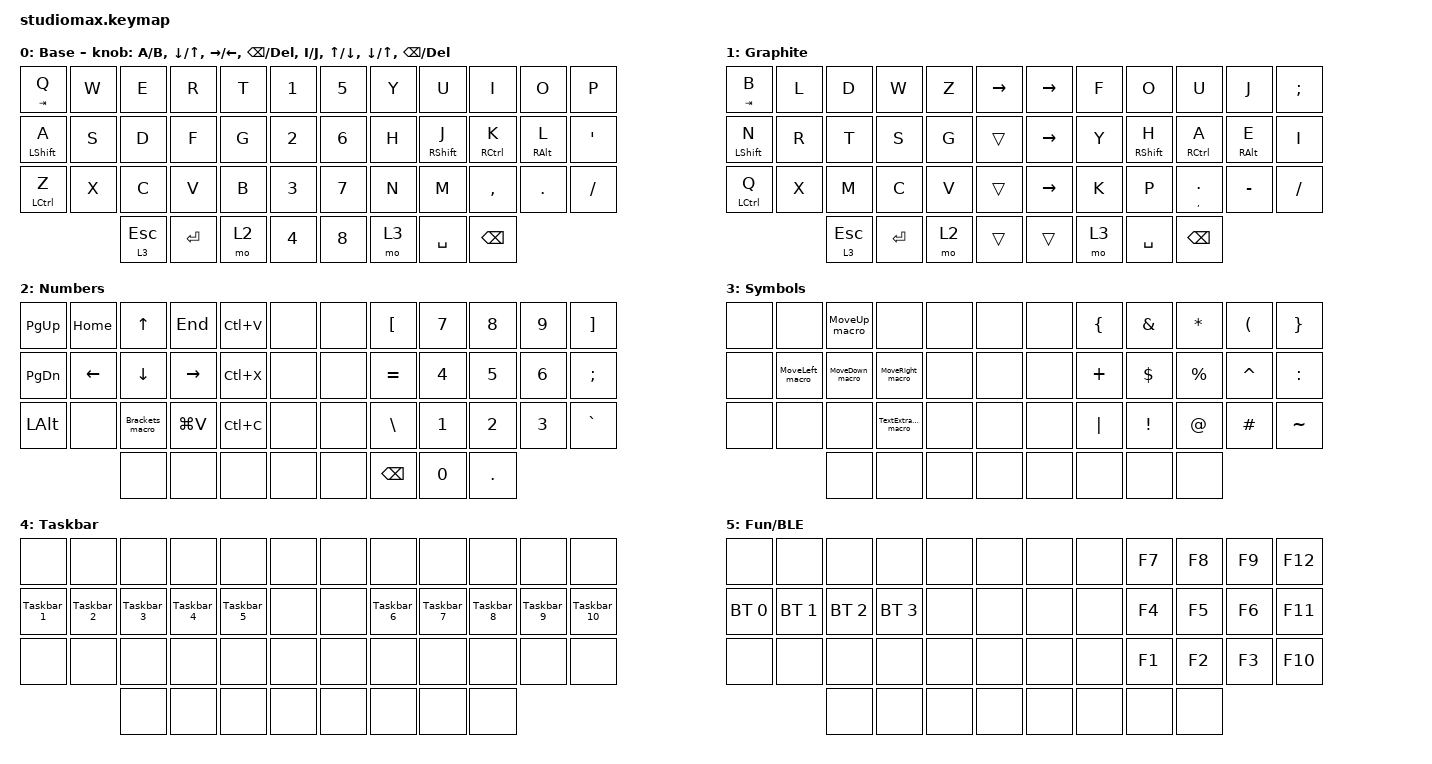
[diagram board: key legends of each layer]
#define ZMK_POINTING_DEFAULT_MOVE_VAL 2000  // default: 600
#define ZMK_POINTING_DEFAULT_SCRL_VAL 20    // default: 10

#include <behaviors.dtsi>

#include <dt-bindings/zmk/keys.h>
#include <dt-bindings/zmk/bt.h>
#include <dt-bindings/zmk/rgb.h>
#include <dt-bindings/zmk/ext_power.h>
#include <dt-bindings/zmk/outputs.h>
#include <dt-bindings/led/led.h>

&mt {
    tapping-term-ms = <250>;
    flavor = "tap-preferred";
};

// pin control for spi3 
// - MOSI on D13
&pinctrl {
    /* configuration for spi3 device, default state */
    spi3_default: spi3_default {
        group1 {
            psels = <NRF_PSEL(SPIM_MOSI, 1, 1)>;
        };
    };
    /* configuration for spi3 device, sleep state */
    spi3_sleep: spi3_sleep {
        group1 {
            psels = <NRF_PSEL(SPIM_MOSI, 1, 1)>;
            low-power-enable;
        };
    };
};
&spi3 {
  compatible = "nordic,nrf-spim";
  status = "okay";
  pinctrl-0 = <&spi3_default>;
  pinctrl-1 = <&spi3_sleep>;
  pinctrl-names = "default", "sleep";
};

// devices on spi3

#include <dt-bindings/led/led.h>
&spi3 {
    led_strip: ws2812@0 {
        compatible = "worldsemi,ws2812-spi";
        reg = <0>;
        spi-max-frequency = <4000000>;

        chain-length = <19>;
        spi-one-frame = <0x70>;
        spi-zero-frame = <0x40>;
        color-mapping = <LED_COLOR_ID_GREEN
                         LED_COLOR_ID_RED
                         LED_COLOR_ID_BLUE>;
    };
};


/ {
    combos {
        compatible = "zmk,combos";

        delete_combo2 {
            bindings = <&kp DELETE>;
            key-positions = <4 3>;
            layers = <0 1>;
        };

        minus_combo {
            bindings = <&kp MINUS>;
            key-positions = <42 43>;
            layers = <2>;
        };

        undo_combo {
            bindings = <&kp LC(Z)>;
            key-positions = <24 25>;
            layers = <0 1>;
        };

        BackspaceWord_combo {
            bindings = <&lt 7 LC(BACKSPACE)>;
            key-positions = <28 27>;
            layers = <0 1>;
        };

        delete_comb {
            bindings = <&lt 9 DELETE>;
            key-positions = <10 11>;
            layers = <0 1>;
        };

        F5_combo {
            bindings = <&kp F5>;
            key-positions = <10 9>;
            layers = <0 1>;
        };

        prtscn_combo {
            bindings = <&TextExtractor_macro>;
            key-positions = <7 8>;
            layers = <0 1>;
        };

        underscore_combo {
            bindings = <&kp UNDERSCORE>;
            key-positions = <41 42>;
            layers = <2>;
        };

        Caps {
            bindings = <&kp CAPS>;
            key-positions = <1 2>;
            layers = <0 1>;
        };

        Delete {
            bindings = <&kp DELETE>;
            key-positions = <4 3>;
            layers = <0 1>;
        };

        NewWindow_macro {
            bindings = <&NewWindow_macro>;
            key-positions = <2 16>;
            layers = <0 1>;
        };

        Search {
            bindings = <&kp LC(E)>;
            key-positions = <3 2>;
            layers = <0 1>;
        };

        SwitchWindows {
            bindings = <&kp LA(TAB)>;
            key-positions = <28 26>;
            layers = <0 1>;
        };

        Paint {
            bindings = <&paint_macro>;
            key-positions = <7 19>;
            layers = <0 1>;
        };

        InternalTabs {
            bindings = <&kp LC(TAB)>;
            key-positions = <28 27>;
            layers = <0 1>;
        };

        CTRL_S {
            bindings = <&kp LC(S)>;
            key-positions = <0 1>;
            layers = <0 1>;
        };

        REDO {
            bindings = <&kp LC(Y)>;
            key-positions = <12 13>;
            layers = <0 1 2>;
        };

        CloseInternal {
            bindings = <&kp LC(F4)>;
            key-positions = <28 31>;
        };

        CloseWindow {
            bindings = <&kp LA(F4)>;
            key-positions = <16 19>;
        };

        Windows {
            bindings = <&kp LEFT_WIN>;
            key-positions = <35 23>;
            layers = <0 1>;
        };

        Alt {
            bindings = <&kp LEFT_ALT>;
            key-positions = <35 34>;
            layers = <0 1>;
        };

        CtrlAltDel {
            bindings = <&CtrlAltDel>;
            key-positions = <0 12 24>;
            layers = <0 1>;
        };

        insert {
            bindings = <&kp INSERT>;
            key-positions = <21 20>;
            layers = <0 5>;
        };

        TabEnter {
            bindings = <&ACADE_TabEnter>;
            key-positions = <15 14>;
            layers = <2>;
        };

        PinMacro {
            bindings = <&pin_macro>;
            key-positions = <36 38 43 41>;
            layers = <0 1>;
        };

        CapsWord {
            bindings = <&caps_word>;
            key-positions = <15 12>;
        };

        TaskbarLayer {
            bindings = <&sl 4>;
            key-positions = <32 31>;
            layers = <0 1>;
        };

        Functions {
            bindings = <&sl 5>;
            key-positions = <32 33>;
            layers = <0 1>;
        };

        Gallium {
            bindings = <&to 1>;
            key-positions = <11 23 35>;
            layers = <0>;
        };

        QWERTY {
            bindings = <&to 0>;
            key-positions = <11 23 35>;
            layers = <1>;
        };

        AllTabs {
            bindings = <&Switch_macro>;
            key-positions = <38 41>;
            layers = <0 1>;
        };

        Greenshot {
            bindings = <&Greenshot>;
            key-positions = <4 7>;
            layers = <0 1>;
        };
    };

    macros {
        pin_macro: pin_macro {
            compatible = "zmk,behavior-macro";
            #binding-cells = <0>;
            bindings = <&kp LS(M) &kp I &kp S &kp S &kp LS(D) &kp A &kp I &kp S &kp Y &kp MINUS &kp N1 &kp N2 &kp N3 &kp NUMBER_4 &kp N5>;
            label = "PIN_MACRO";
            wait-ms = <25>;
            tap-ms = <25>;
        };

        NewWindow_macro: NewWindow_macro {
            compatible = "zmk,behavior-macro";
            #binding-cells = <0>;
            bindings =
                <&macro_press>,
                <&kp LEFT_WIN>,
                <&macro_tap>,
                <&kp E>,
                <&macro_release>,
                <&kp LEFT_WIN>;

            label = "NEWWINDOW_MACRO";
            wait-ms = <50>;
            tap-ms = <50>;
        };

        Switch_macro: Switch_macro {
            compatible = "zmk,behavior-macro";
            #binding-cells = <0>;
            bindings =
                <&macro_press>,
                <&kt LEFT_WIN>,
                <&macro_tap>,
                <&kp TAB>,
                <&macro_release>,
                <&kp LEFT_WIN>;

            label = "SWITCH_MACRO";
            wait-ms = <25>;
            tap-ms = <25>;
        };

        paint_macro: paint_macro {
            compatible = "zmk,behavior-macro";
            #binding-cells = <0>;
            bindings =
                <&macro_press>,
                <&kp LEFT_WIN>,
                <&macro_tap>,
                <&kp NUMBER_1>,
                <&macro_release>,
                <&kp LEFT_WIN>;

            label = "PAINT_MACRO";
            wait-ms = <50>;
            tap-ms = <50>;
        };

        Brackets_macro: Brackets_macro {
            compatible = "zmk,behavior-macro";
            #binding-cells = <0>;
            bindings = <&kp LEFT_PARENTHESIS &kp RIGHT_PARENTHESIS &kp LEFT>;
            label = "BRACKETS_MACRO";
            wait-ms = <50>;
            tap-ms = <50>;
        };

        CB_History_macro: CB_History_macro {
            compatible = "zmk,behavior-macro";
            #binding-cells = <0>;
            bindings =
                <&macro_press>,
                <&kp LEFT_WIN>,
                <&macro_tap>,
                <&kp V>,
                <&macro_release>,
                <&kp LEFT_WIN>;

            label = "CB_History_macro";
            wait-ms = <1>;
            tap-ms = <1>;
        };

        MoveRight_macro: MoveRight_macro {
            compatible = "zmk,behavior-macro";
            #binding-cells = <0>;
            bindings =
                <&macro_press>,
                <&kp LEFT_WIN &kp LEFT_SHIFT>,
                <&macro_tap>,
                <&kp RIGHT>,
                <&macro_release>,
                <&kp LEFT_WIN &kp LEFT_SHIFT>;

            label = "MOVERIGHT_MACRO";
            wait-ms = <1>;
            tap-ms = <1>;
        };

        SelectLine_macro: SelectLine_macro {
            compatible = "zmk,behavior-macro";
            #binding-cells = <0>;
            bindings = <&kp HOME &kp LS(END)>;
            label = "SELECTLINE_MACRO";
        };

        MoveLeft_macro: MoveLeft_macro {
            compatible = "zmk,behavior-macro";
            #binding-cells = <0>;
            bindings =
                <&macro_press>,
                <&kp LEFT_WIN &kp LEFT_SHIFT>,
                <&macro_tap>,
                <&kp LEFT>,
                <&macro_release>,
                <&kp LEFT_WIN &kp LEFT_SHIFT>;

            label = "MOVELEFT_MACRO";
            wait-ms = <1>;
            tap-ms = <1>;
        };

        TextExtractor_macro: TextExtractor_macro {
            compatible = "zmk,behavior-macro";
            #binding-cells = <0>;
            bindings =
                <&macro_press>,
                <&kp LEFT_WIN &kp LEFT_SHIFT>,
                <&macro_tap>,
                <&kp T>,
                <&macro_release>,
                <&kp LEFT_WIN &kp LEFT_SHIFT>;

            label = "TEXTEXTRACTOR_MACRO";
            wait-ms = <1>;
            tap-ms = <1>;
        };

        ACADE_SaveZoomClose: SaveZoomClose {
            compatible = "zmk,behavior-macro";
            #binding-cells = <0>;
            bindings = <&kp S &kp V &kp RET>;
            label = "SAVEZOOMCLOSE";
        };

        ACADE_CloseNoSave: ACADE_close {
            compatible = "zmk,behavior-macro";
            #binding-cells = <0>;
            bindings = <&kp C &kp C &kp RET>;
            label = "ACADE_CLOSE";
        };

        ACADE_edit: ACADE_edit {
            compatible = "zmk,behavior-macro";
            #binding-cells = <0>;
            bindings = <&kp E &kp D &kp I &kp T &kp RET>;
            label = "ACADE_EDIT";
        };

        ACADE_Align: ACADE_Align {
            compatible = "zmk,behavior-macro";
            #binding-cells = <0>;
            bindings = <&kp A &kp E &kp A &kp RET>;
            label = "ACADE_ALIGN";
        };

        ACADE_SaveNext: ACADE_SaveNext {
            compatible = "zmk,behavior-macro";
            #binding-cells = <0>;
            bindings = <&kp N &kp N &kp RET>;
            label = "ACADE_SAVENEXT";
        };

        ACADE_SavePrevious: ACADE_SavePrevious {
            compatible = "zmk,behavior-macro";
            #binding-cells = <0>;
            bindings = <&kp B &kp B &kp RET>;
            label = "ACADE_SAVEPREVIOUS";
        };

        ACADE_Wire: ACADE_Wire {
            compatible = "zmk,behavior-macro";
            #binding-cells = <0>;
            bindings = <&kp A &kp E &kp W &kp RET>;
            label = "ACADE_WIRE";
        };

        ACADE_FlipWireNo: ACADE_FlipWireNo {
            compatible = "zmk,behavior-macro";
            #binding-cells = <0>;
            bindings = <&kp A &kp E &kp F &kp L &kp W &kp RET>;
            label = "ACADE_FLIPWIRENO";
        };

        ACADE_Justify: ACADE_Justify {
            compatible = "zmk,behavior-macro";
            #binding-cells = <0>;
            bindings = <&kp A &kp E &kp J &kp RET>;
            label = "ACADE_JUSTIFY";
        };

        ACADE_Surf: ACADE_Surf {
            compatible = "zmk,behavior-macro";
            #binding-cells = <0>;
            bindings = <&kp A &kp E &kp S &kp RET>;
            label = "ACADE_SURF";
        };

        Taskbar_2: Taskbar_2 {
            compatible = "zmk,behavior-macro";
            #binding-cells = <0>;
            bindings =
                <&macro_press>,
                <&kp LEFT_WIN>,
                <&macro_tap>,
                <&kp NUMBER_2>,
                <&macro_release>,
                <&kp LEFT_WIN>;

            label = "TASKBAR_2";
            wait-ms = <50>;
            tap-ms = <50>;
        };

        Taskbar_3: Taskbar_3 {
            compatible = "zmk,behavior-macro";
            #binding-cells = <0>;
            bindings =
                <&macro_press>,
                <&kp LEFT_WIN>,
                <&macro_tap>,
                <&kp NUMBER_3>,
                <&macro_release>,
                <&kp LEFT_WIN>;

            label = "TASKBAR_3";
            wait-ms = <50>;
            tap-ms = <50>;
        };

        Taskbar_4: Taskbar_4 {
            compatible = "zmk,behavior-macro";
            #binding-cells = <0>;
            bindings =
                <&macro_press>,
                <&kp LEFT_WIN>,
                <&macro_tap>,
                <&kp NUMBER_4>,
                <&macro_release>,
                <&kp LEFT_WIN>;

            label = "TASKBAR_4";
            wait-ms = <50>;
            tap-ms = <50>;
        };

        Taskbar_5: Taskbar_5 {
            compatible = "zmk,behavior-macro";
            #binding-cells = <0>;
            bindings =
                <&macro_press>,
                <&kp LEFT_WIN>,
                <&macro_tap>,
                <&kp N5>,
                <&macro_release>,
                <&kp LEFT_WIN>;

            label = "TASKBAR_5";
            wait-ms = <50>;
            tap-ms = <50>;
        };

        CtrlAltDel: CtrlAltDel {
            compatible = "zmk,behavior-macro";
            #binding-cells = <0>;
            bindings =
                <&macro_press>,
                <&kp LEFT_CONTROL>,
                <&macro_press>,
                <&kp LEFT_ALT>,
                <&macro_press>,
                <&kp DELETE>,
                <&macro_release>,
                <&kp LEFT_CONTROL>,
                <&macro_release>,
                <&kp LEFT_ALT>,
                <&macro_release>,
                <&kp DELETE>;

            label = "CTRLALTDEL";
        };

        Taskbar_6: Taskbar_6 {
            compatible = "zmk,behavior-macro";
            #binding-cells = <0>;
            bindings =
                <&macro_press>,
                <&kp LEFT_WIN>,
                <&macro_tap>,
                <&kp NUMBER_6>,
                <&macro_release>,
                <&kp LEFT_WIN>;

            label = "TASKBAR_6";
            wait-ms = <50>;
            tap-ms = <50>;
        };

        Taskbar_7: Taskbar_7 {
            compatible = "zmk,behavior-macro";
            #binding-cells = <0>;
            bindings =
                <&macro_press>,
                <&kp LEFT_WIN>,
                <&macro_tap>,
                <&kp N7>,
                <&macro_release>,
                <&kp LEFT_WIN>;

            label = "TASKBAR_7";
            wait-ms = <50>;
            tap-ms = <50>;
        };

        Taskbar_8: Taskbar_8 {
            compatible = "zmk,behavior-macro";
            #binding-cells = <0>;
            bindings =
                <&macro_press>,
                <&kp LEFT_WIN>,
                <&macro_tap>,
                <&kp N8>,
                <&macro_release>,
                <&kp LEFT_WIN>;

            label = "TASKBAR_8";
            wait-ms = <50>;
            tap-ms = <50>;
        };

        Taskbar_9: Taskbar_9 {
            compatible = "zmk,behavior-macro";
            #binding-cells = <0>;
            bindings =
                <&macro_press>,
                <&kp LEFT_WIN>,
                <&macro_tap>,
                <&kp NUMBER_9>,
                <&macro_release>,
                <&kp LEFT_WIN>;

            label = "TASKBAR_9";
            wait-ms = <50>;
            tap-ms = <50>;
        };

        Taskbar_10: Taskbar_10 {
            compatible = "zmk,behavior-macro";
            #binding-cells = <0>;
            bindings =
                <&macro_press>,
                <&kp LEFT_WIN>,
                <&macro_tap>,
                <&kp NUMBER_0>,
                <&macro_release>,
                <&kp LEFT_WIN>;

            label = "TASKBAR_10";
            wait-ms = <50>;
            tap-ms = <50>;
        };

        ACADE_TabEnter: ACADE_TabEnter {
            compatible = "zmk,behavior-macro";
            #binding-cells = <0>;
            bindings =
                <&macro_tap>,
                <&kp TAB>,
                <&macro_wait_time 50>,
                <&kp ENTER>;

            label = "ACADE_TABENTER";
        };

        MoveUp_macro: MoveUp_macro {
            compatible = "zmk,behavior-macro";
            #binding-cells = <0>;
            bindings =
                <&macro_press>,
                <&kp LEFT_WIN &kp LEFT_SHIFT>,
                <&macro_tap>,
                <&kp UP_ARROW>,
                <&macro_release>,
                <&kp LEFT_WIN &kp LEFT_SHIFT>;

            label = "MOVEUP_MACRO";
            wait-ms = <1>;
            tap-ms = <1>;
        };

        MoveDown_macro: MoveDown_macro {
            compatible = "zmk,behavior-macro";
            #binding-cells = <0>;
            bindings =
                <&macro_press>,
                <&kp LEFT_WIN &kp LEFT_SHIFT>,
                <&macro_tap>,
                <&kp DOWN>,
                <&macro_release>,
                <&kp LEFT_WIN &kp LEFT_SHIFT>;

            label = "MOVEDOWN_MACRO";
            wait-ms = <1>;
        };

        Taskbar_1: Taskbar_1 {
            compatible = "zmk,behavior-macro";
            #binding-cells = <0>;
            bindings =
                <&macro_press>,
                <&kp LEFT_WIN>,
                <&macro_tap>,
                <&kp NUMBER_1>,
                <&macro_release>,
                <&kp LEFT_WIN>;

            label = "TASKBAR_1";
            wait-ms = <50>;
            tap-ms = <50>;
        };

        Greenshot: Greenshot {
            compatible = "zmk,behavior-macro";
            #binding-cells = <0>;
            bindings =
                <&macro_press>,
                <&kp LEFT_CONTROL>,
                <&macro_press>,
                <&kp LEFT_SHIFT>,
                <&macro_tap>,
                <&kp Q>,
                <&macro_release>,
                <&kp LEFT_CONTROL &kp LEFT_SHIFT>;

            label = "GREENSHOT";
        };
    };

    keymap {
        compatible = "zmk,keymap";

        Base {
            display-name = "Base";
            bindings = <
&mt TAB Q         &kp W  &kp E         &kp R      &kp T  &kp NUMBER_1  &kp NUMBER_5  &kp Y  &kp U              &kp I          &kp O            &kp P
&mt LEFT_SHIFT A  &kp S  &kp D         &kp F      &kp G  &kp NUMBER_2  &kp NUMBER_6  &kp H  &mt RIGHT_SHIFT J  &mt RCTRL K    &mt RIGHT_ALT L  &kp SQT
&mt LCTRL Z       &kp X  &kp C         &kp V      &kp B  &kp NUMBER_3  &kp NUMBER_7  &kp N  &kp M              &kp COMMA      &kp PERIOD       &kp SLASH
                         &lt 3 ESCAPE  &kp ENTER  &mo 2  &kp NUMBER_4  &kp NUMBER_8  &mo 3  &kp SPACE          &kp BACKSPACE
            >;

            sensor-bindings = <&inc_dec_kp A B &inc_dec_kp DOWN UP &inc_dec_kp RIGHT LEFT &inc_dec_kp BACKSPACE DELETE &inc_dec_kp I J &inc_dec_kp UP DOWN &inc_dec_kp DOWN UP &inc_dec_kp BACKSPACE DELETE>;
        };

        Graphite {
            display-name = "Graphite";
            bindings = <
&mt TAB B         &kp L  &kp D         &kp W      &kp Z  &kp RIGHT  &kp RIGHT  &kp F  &kp O              &kp U             &kp J            &kp SEMI
&mt LEFT_SHIFT N  &kp R  &kp T         &kp S      &kp G  &trans     &kp RIGHT  &kp Y  &mt RIGHT_SHIFT H  &mt RCTRL A       &mt RIGHT_ALT E  &kp I
&mt LCTRL Q       &kp X  &kp M         &kp C      &kp V  &trans     &kp RIGHT  &kp K  &kp P              &mt COMMA PERIOD  &kp MINUS        &kp FSLH
                         &lt 3 ESCAPE  &kp ENTER  &mo 2  &trans     &trans     &mo 3  &kp SPACE          &kp BACKSPACE
            >;
        };

        Numbers {
            display-name = "Numbers";
            bindings = <
&kp PG_UP  &kp HOME  &kp UP           &kp END    &kp LC(V)  &none  &none  &kp LBKT       &kp N7        &kp N8      &kp N9  &kp RBKT
&kp PG_DN  &kp LEFT  &kp DOWN         &kp RIGHT  &kp LC(X)  &none  &none  &kp EQUAL      &kp N4        &kp N5      &kp N6  &kp SEMI
&kp LALT   &none     &Brackets_macro  &kp LG(V)  &kp LC(C)  &none  &none  &kp BSLH       &kp N1        &kp N2      &kp N3  &kp GRAVE
                     &none            &none      &none      &none  &none  &kp BACKSPACE  &kp NUMBER_0  &kp PERIOD
            >;
        };

        Symbols {
            display-name = "Symbols";
            bindings = <
&none  &none            &MoveUp_macro    &none                 &none  &none  &none  &kp LEFT_BRACE  &kp AMPERSAND    &kp ASTERISK  &kp LEFT_PARENTHESIS  &kp RIGHT_BRACE
&none  &MoveLeft_macro  &MoveDown_macro  &MoveRight_macro      &none  &none  &none  &kp PLUS        &kp DOLLAR       &kp PERCENT   &kp CARET             &kp COLON
&none  &none            &none            &TextExtractor_macro  &none  &none  &none  &kp PIPE        &kp EXCLAMATION  &kp AT_SIGN   &kp HASH              &kp TILDE
                        &none            &none                 &none  &none  &none  &none           &none            &none
            >;
        };

        Taskbar {
            display-name = "Taskbar";
            bindings = <
&none       &none       &none       &none       &none       &none  &none  &none       &none       &none       &none       &none
&Taskbar_1  &Taskbar_2  &Taskbar_3  &Taskbar_4  &Taskbar_5  &none  &none  &Taskbar_6  &Taskbar_7  &Taskbar_8  &Taskbar_9  &Taskbar_10
&none       &none       &none       &none       &none       &none  &none  &none       &none       &none       &none       &none
                        &none       &none       &none       &none  &none  &none       &none       &none
            >;
        };

        Functions {
            display-name = "Fun/BLE";
            bindings = <
&none         &none         &none         &none         &none  &none  &none  &none  &kp F7  &kp F8  &kp F9  &kp F12
&bt BT_SEL 0  &bt BT_SEL 1  &bt BT_SEL 2  &bt BT_SEL 3  &none  &none  &none  &none  &kp F4  &kp F5  &kp F6  &kp F11
&none         &none         &none         &none         &none  &none  &none  &none  &kp F1  &kp F2  &kp F3  &kp F10
                            &none         &none         &none  &none  &none  &none  &none   &none
            >;
        };
    };
};


